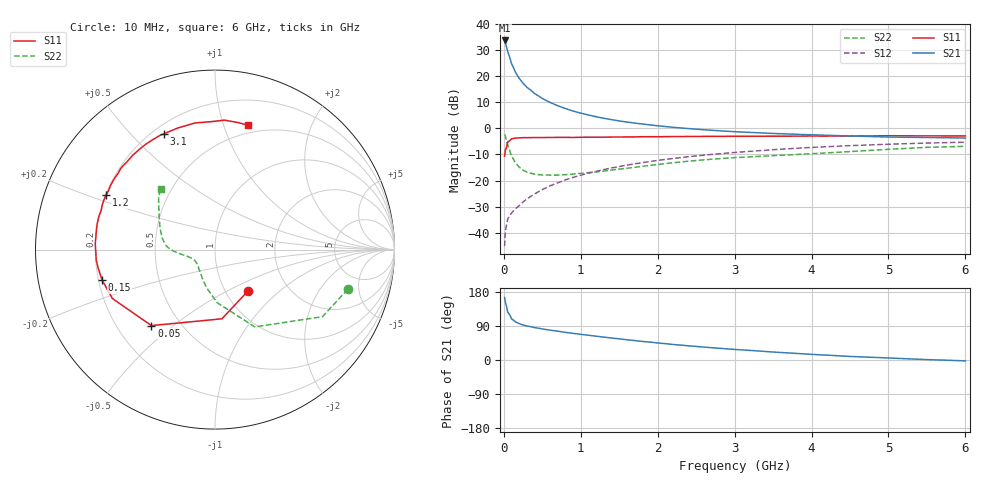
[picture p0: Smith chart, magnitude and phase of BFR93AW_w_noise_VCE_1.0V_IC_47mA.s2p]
! Infineon Technologies  Discrete & RF Semiconductors
! BFR93AW
! VCE =  1.0 V,  IC =  47 mA
! Common Emitter S-Parameters:  Jan 2017
# GHz  S  MA  R  50
!  f  S11  S21  S12  S22
! GHz  MAG  ANG  MAG  ANG  MAG  ANG  MAG  ANG
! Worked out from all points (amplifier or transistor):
!   77 points, 10 MHz to 6 GHz, reference 50 ohm
!   highest |S21| = 33.7 dB at 10 MHz (marker M1)
!   |S21| within 3 dB of that: start of sweep to 38.9 MHz
!   unconditionally stable (mu >= 1): 187.7 MHz to end of sweep
!   at 130 MHz: K = 0.82, MSG = 27.3 dB, |S12| = -31.5 dB
!   at 2.2 GHz: K = 1.14, MAG = 3.7 dB, |S12| = -11.5 dB
!   at 6 GHz: K = 1.03, MAG = -0.3 dB, |S12| = -5.3 dB
!   lowest NFmin = 2.21 dB at 450 MHz
!   S11 on the Smith chart (normalised r, x): 10 MHz: 1.27, -0.64; 50 MHz: 0.35, -0.42; 150 MHz: 0.21, -0.13; 1.2 GHz: 0.20, +0.23; 3.1 GHz: 0.24, +0.62; 6 GHz: 0.42, +1.21
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0.01  0.2948 -51.2  48.69 164.8  0.0055 70.4  0.7721 -16.6
0.02  0.3875 -84.3  44.66 151.7  0.0105 66.3  0.7057 -32.0
0.05  0.5519 -129.9  29.89 125.9  0.0181 50.4  0.4842 -62.8
0.1  0.6332 -154.5  17.43 108.4  0.0237 50.2  0.296 -87.7
0.15  0.6515 -164.9  12.02 100.7  0.0286 52.7  0.2187 -102.2
0.2  0.6584 -170.7  9.132 95.9  0.033 57.0  0.1808 -112.1
0.25  0.6643 -174.7  7.363 92.3  0.0388 60.2  0.1583 -119.9
0.3  0.664 -178.0  6.152 89.8  0.0442 62.5  0.1453 -126.2
0.4  0.6678 177.3  4.664 85.4  0.0553 65.9  0.1324 -135.5
0.5  0.6678 173.3  3.753 82.0  0.0669 67.2  0.1277 -142.3
0.6  0.6705 169.9  3.159 78.8  0.079 67.9  0.1271 -147.4
0.7  0.6722 167.0  2.726 76.0  0.0904 68.5  0.127 -151.0
0.8  0.6729 164.0  2.406 73.0  0.1031 68.7  0.1296 -153.9
0.9  0.6706 161.0  2.152 70.3  0.1148 68.1  0.1332 -156.5
1.1  0.678 155.9  1.806 65.3  0.1387 67.3  0.1415 -160.6
1.2  0.678 153.4  1.673 62.8  0.1503 66.3  0.1461 -162.8
1.6  0.6865 144.0  1.324 53.4  0.1974 62.6  0.172 -169.1
2.1  0.6947 133.0  1.086 43.1  0.2537 56.9  0.2113 -175.3
3.1  0.7053 113.9  0.851 26.6  0.354 45.0  0.2793 173.5
4.1  0.7132 97.5  0.746 13.8  0.4387 33.0  0.3327 157.3
5.1  0.7219 84.6  0.68 4.5  0.5023 21.4  0.404 140.9
6  0.7172 75.2  0.654 -2.3  0.5443 11.9  0.453 131.8
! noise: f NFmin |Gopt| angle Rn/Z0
0.45  2.21  0.25  -178  0.17
0.9  2.51  0.3  -168  0.17
1.9  3.61  0.53  -132  0.4
2.4  4.34  0.57  -122  0.75
